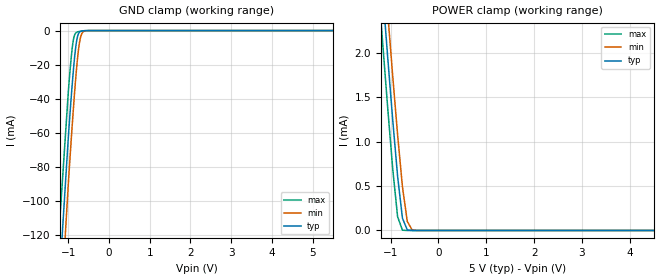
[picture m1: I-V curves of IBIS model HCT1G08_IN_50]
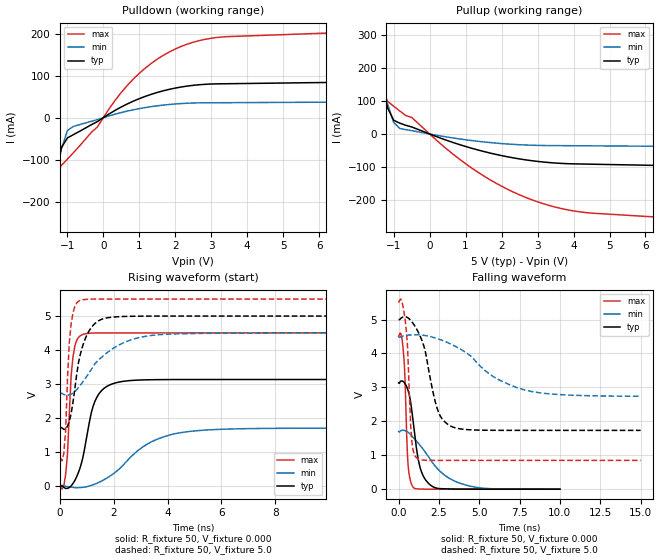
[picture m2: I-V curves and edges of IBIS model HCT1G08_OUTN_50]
| NXP Semiconductors
| Logic Products Group
| IBIS model of 74HCT1G08
| 5V 2-INPUT AND GATE
|[Packages]:
|[Package1]: TSSOP5 (GW) 5-pins Package
|[Package2]: TSSOP5 (GV) 5-pins Package
[IBIS Ver]   3.2
[File Name]   hct1g08.ibs
[File Rev]   1.0
[Date]   07-Nov-2012
[Source]   File created from simulations by LPG
   NXP Semiconductors Nijmegen
[Notes]   V1.0   Ibis model.
   Revision History
   Version Date   Author/Editor  Description
   1.0   November 2012  RRV   Initial Model
   Remarks: - IBISCHK 5.1.0 used
[Disclaimer]
    NXP Semiconductors warrants and represents that the IBIS model
    identified herein is owned by NXP Semiconductors (NXP). The
    model provided is not warranted as fully representing all of the
    operating characteristics and specifications of the semiconductor
    products to which the model relates.  Moreover, unless there is a
    signed, written agreement to the contrary, this IBIS model is
    furnished on an "as is" basis without support or warranty of any
    kind, either expressed or implied, regarding the use thereof, and
    NXP specifically disclaims all implied warranties of
    merchantability and fitness of the model for any purpose.
    NXP does not assume any liability arising out of the application
    or use of this IBIS model including infringement of patents and
    copyrights, nor does NXP convey any license under its patents and
    copyrights or the rights of others.
    NXP provides IBIS models as a service to our customers. You and
    your company shall not distribute, convey, sell, or give these models
    to anyone else without receiving prior written permission from
    NXP.
    NXP reserves the right to make changes without notice to these
    IBIS models to improve reliability, function, or design.
    Please be aware that your receipt and subsequent use of the IBIS
    information provided shall serve as acceptance of the terms and
    conditions of this agreement.  If you do not accept these terms,
    you should return or destroy the IBIS models and any other
    accompanying information immediately.
[Copyright]
   (C) Copyright 2012 NXP Semiconductors
   All rights reserved
|   Info for  TSSOP5 (GW) 5-pins Package
[Component]   74HCT1G08_GW
[Manufacturer]   NXP Semiconductors
[Package]
|   Typ   Min   Max
R_pkg   8.353E-02   8.341E-02   8.366E-02
L_pkg   1.484E-09   1.480E-09   1.486E-09
C_pkg   2.355E-13   1.892E-13   3.527E-13
[Pin] signal_name   model_name   R_pin   L_pin   C_pin
   1   B   HCT1G08_IN_50 8.357E-02 1.485E-09 2.132E-13
   2   A   HCT1G08_IN_50 8.366E-02 1.480E-09 2.311E-13
   3   GND   GND 8.354E-02 1.484E-09 1.914E-13
   4   Y   HCT1G08_OUTN_50 8.351E-02 1.486E-09 1.892E-13
   5   VCC   POWER 8.341E-02 1.486E-09 3.527E-13
|   Info for  TSSOP5 (GV) 5-pins Package
[Component]   74HCT1G08_GV
[Manufacturer]   NXP Semiconductors
[Package]
|   Typ   Min   Max
R_pkg   8.192E-02   8.186E-02   8.199E-02
L_pkg   1.305E-09   1.300E-09   1.309E-09
C_pkg   2.711E-13   2.208E-13   4.174E-13
[Pin] signal_name   model_name   R_pin   L_pin   C_pin
   1   B   HCT1G08_IN_50 8.195E-02 1.309E-09 2.208E-13
   2   A   HCT1G08_IN_50 8.199E-02 1.307E-09 2.559E-13
   3   GND   GND 8.194E-02 1.309E-09 4.174E-13
   4   Y   HCT1G08_OUTN_50 8.188E-02 1.300E-09 2.377E-13
   5   VCC   POWER 8.186E-02 1.300E-09 2.239E-13
| Models and submodels in the file (2): HCT1G08_IN_50 (Input), HCT1G08_OUTN_50 (Output)
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|   Model HCT1G08_IN_50
[Model]   HCT1G08_IN_50
Model_type   Input
Vinl = 0.8V
Vinh = 2.0V
C_comp   2.8774pF   1.2578pF   5.2328pF
[Model Spec]
| Note: The input and output voltage ratings may be exceeded if the input and
|   output current ratings are observed (please refer to the data sheet)
|   Subparameter   typ   min   max
| Thresholds
Vinl   0.8   0.8   0.8
Vinh   2.0   2.0   2.0
| Overshoot
S_overshoot_high   7.0   7.0   7.0
S_overshoot_low   -0.5   -0.5   -0.5
D_overshoot_high   7.2   7.2   7.2
D_overshoot_low   -1.3   -1.3   -1.3
D_overshoot_time   3n   3n   3n
|Ambient temperature:   25   85   -40
[Temperature Range]   35   95   -30
[Voltage Range]   5.0   4.5   5.5
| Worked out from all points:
|   GND clamp passes 1 mA (typ) near -0.73 V on its own axis
|   POWER clamp passes 1 mA (typ) near -0.92 V on its own axis
|Process Range   nominal   slow   fast
[GND_clamp]
|   voltage   I(typ)   I(min)   I(max)
-5.5V     -1.839A    -1.974A    -1.717A
-1.9V     -405mA     -453.2mA   -359.4mA
-1V       -62.81mA   -90.06mA   -36.07mA
-937.5mV  -42.01mA   -67.28mA   -18.13mA
-887.5mV  -26.77mA   -49.95mA   -7.313mA
-837.5mV  -13.86mA   -33.87mA   -2.148mA
-787.5mV  -5.045mA   -19.81mA   -915.9uA
-737.5mV  -1.287mA   -9.108mA   -551.9uA
-700mV    -465.6uA   -4.104mA   -378.7uA
-650mV    -161.3uA   -1.11mA    -204.8uA
-575mV    -48.51uA   -142.2uA   -52.35uA
5.5V      0A         0A         0A
[POWER_clamp]
|   voltage   I(typ)   I(min)   I(max)
-5.5V     34.86mA    35.34mA    34.33mA
-1.258V   3.328mA    3.828mA    2.758mA
-1.157V   2.615mA    3.117mA    2.044mA
-1.056V   1.914mA    2.414mA    1.346mA
-954.6mV  1.236mA    1.729mA    686.7uA
-853.5mV  610uA      1.075mA    154.9uA
-752.5mV  138.8uA    493uA      3.22uA
-651.5mV  5.946uA    102.1uA    26.47nA
-550.5mV  136.3nA    6.271uA    213.4pA
4.5V      4.076pA    -780.7fA   1.77fA
|   Model HCT1G08_OUTN_50
[Model]   HCT1G08_OUTN_50
Model_type   Output
Polarity   Non-Inverting
Vmeas =  1.3V
Cref  =  50e-12
Rref  =  1e6
Vref  =  0V
C_comp   2.32pF   1.86pF   2.78pF
[Model Spec]
| Note: The input and output voltage ratings may be exceeded if the input and
|   output current ratings are observed (please refer to the data sheet)
|   Subparameter   typ   min   max
| Timing Thresholds
Vmeas   1.3   1.3   1.3
|Ambient temperature:   25   85   -40
[Temperature Range]   35   95   -35
[Voltage Range]   5.0   4.5   5.5
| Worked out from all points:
|   slope of the pulldown table from 0 to 0.75 V, typ, clamps not added: 20.8 ohm
|   slope of the pullup table from 0 to 0.75 V, typ, clamps not added: 25.5 ohm
|   rising waveform, R_fixture 50, V_fixture 0.000: 20-80 % time 527ps typ, 1.63ns min, 184ps max; typ from 0 V to 3.13 V
|   rising waveform, R_fixture 50, V_fixture 5.0: 20-80 % time 479ps typ, 1.32ns min, 173ps max; typ from 1.73 V to 5 V
|   falling waveform, R_fixture 50, V_fixture 0.000: 20-80 % time 577ps typ, 1.86ns min, 199ps max; typ from 3.13 V to 0 V
|   falling waveform, R_fixture 50, V_fixture 5.0: 20-80 % time 912ps typ, 3.07ns min, 267ps max; typ from 5 V to 1.73 V
|Process Range   nominal   slow   fast
[Pulldown]
|   voltage   I(typ)   I(min)   I(max)
-5.5V     -2.373A    -2.267A    -2.616A
-1.667V   -280.9mA   -292.8mA   -272mA
-1.5V     -204.1mA   -216mA     -197.4mA
-1.333V   -131.4mA   -142mA     -136.8mA
-1.167V   -71.26mA   -74.99mA   -113.5mA
-1V       -48.22mA   -30.58mA   -98.64mA
-166.7mV  -9.396mA   -4.539mA   -22.23mA
333.3mV   17.69mA    8.49mA     41.84mA
1V        45.26mA    21.54mA    105.5mA
2.333V    75.14mA    34.39mA    174.8mA
3.333V    80.61mA    35.63mA    192.1mA
11V       88.85mA    38.92mA    215.6mA
[Pullup]
|   voltage   I(typ)   I(min)   I(max)
-5.5V     2.343A     2.275A     2.518A
-1.833V   376.8mA    392mA      363.4mA
-1.667V   297.5mA    313.2mA    283.7mA
-1.333V   145.4mA    160.5mA    138.2mA
-1.167V   78.81mA    90.31mA    99.07mA
-1V       41.58mA    35.08mA    84.33mA
-833.3mV  33.15mA    16.93mA    70.32mA
-500mV    21.48mA    10.24mA    50.38mA
1.333V    -48.38mA   -22.07mA   -115.7mA
3V        -83.4mA    -34.69mA   -206.4mA
4.5V      -91.87mA   -36.04mA   -240.7mA
11V       -105.3mA   -40.62mA   -284.2mA
[Ramp]
| variable   typ   min   max
dV/dt_r  1.8800E+00/5.2612E-10  1.0207E+00/1.6255E-09  2.7029E+00/1.8002E-10
dV/dt_f  1.8800E+00/5.7700E-10  1.0209E+00/1.8619E-09  2.7029E+00/1.9925E-10
R_load = 50
[Rising Waveform]
R_fixture   = 50
V_fixture   = 0.000
V_fixture_min = 0.000
V_fixture_max = 0.000
| time   V(typ)   V(min)   V(max)
0s        219.7pV    647pV      69.87pV
204.6ps   -72.98mV   -7.331mV   341.1mV
272.7ps   -68.68mV   -15.83mV   938.4mV
409.1ps   3.237mV    -30.83mV   3.244V
477.3ps   73.93mV    -39.65mV   3.806V
818.2ps   747.2mV    -40.36mV   4.451V
1.295ns   2.495V     57.11mV    4.502V
2.182ns   3.057V     490.4mV    4.505V
4.8ns     3.133V     1.604V     4.505V
15ns      3.133V     1.702V     4.505V
[Rising Waveform]
R_fixture   = 50
V_fixture   = 5.0
V_fixture_min = 4.5
V_fixture_max = 5.5
| time   V(typ)   V(min)   V(max)
0s        1.733V     2.732V     848mV
136.4ps   1.666V     2.691V     955.6mV
204.6ps   1.67V      2.675V     1.651V
340.9ps   1.905V     2.681V     4.225V
409.1ps   2.131V     2.701V     4.779V
545.5ps   2.854V     2.775V     5.283V
750ps     3.873V     2.969V     5.461V
1.432ns   4.862V     3.711V     5.5V
3.341ns   4.998V     4.425V     5.5V
15ns      5V         4.5V       5.5V
[Falling Waveform]
R_fixture   = 50
V_fixture   = 0.000
V_fixture_min = 0.000
V_fixture_max = 0.000
| time   V(typ)   V(min)   V(max)
0s        3.133V     1.702V     4.505V
272.7ps   3.179V     1.738V     4.18V
363.6ps   3.135V     1.731V     3.619V
500ps     3.022V     1.704V     1.604V
590.9ps   2.903V     1.675V     696.8mV
909.1ps   1.972V     1.524V     51.95mV
1.364ns   589mV      1.273V     3.088mV
2.182ns   59.54mV    732.3mV    60.87uV
4.6ns     504.3uV    72.62mV    500nV
10ns      1.28uV     809.6uV    57.32nV
[Falling Waveform]
R_fixture   = 50
V_fixture   = 5.0
V_fixture_min = 4.5
V_fixture_max = 5.5
| time   V(typ)   V(min)   V(max)
0s        5V         4.5V       5.5V
409.1ps   5.081V     4.53V      4.973V
545.5ps   5.061V     4.539V     4.279V
818.2ps   4.937V     4.55V      1.419V
1.159ns   4.684V     4.551V     909.6mV
1.636ns   4.101V     4.53V      853.6mV
2.455ns   2.293V     4.429V     848.2mV
3.273ns   1.849V     4.269V     848mV
7.895ns   1.733V     2.914V     848mV
15ns      1.733V     2.738V     848mV
